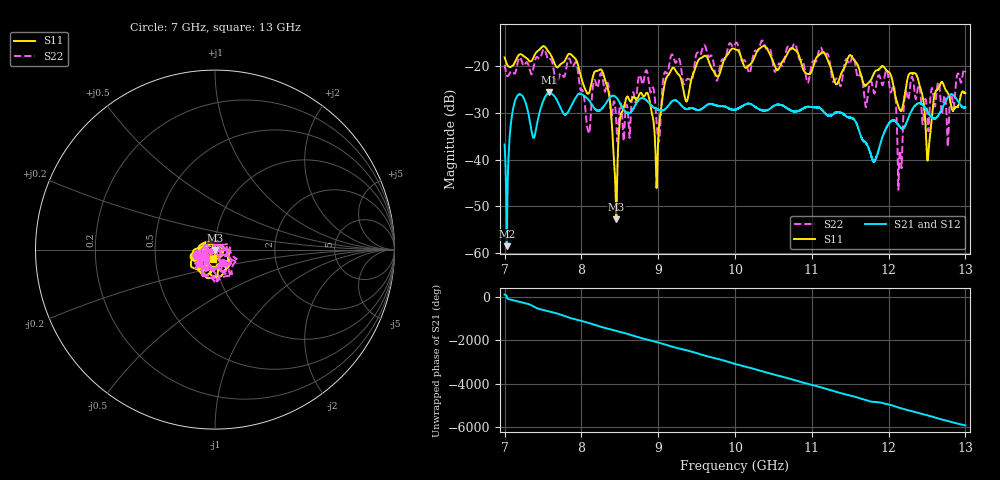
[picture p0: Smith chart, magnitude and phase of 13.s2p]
[Version] 2.0
! Rohde & Schwarz Vector Network Analyzer
! Rohde-Schwarz,ZNL20-2Port,1323001220200009,1.71.1.10-23.02.1.238
! Port Assignments:
! Nominal Port -> Actual Test Port
!  1 -> 1
!  2 -> 2
! Created: GMT+3 2024-09-24 15:13:53
# Hz S DB R 50
[Number of Ports] 2
[Two-Port Data Order] 21_12
! freq[Hz]  S11[mag dB]  S11[ang]  S21[mag dB]  S21[ang]  S12[mag dB]  S12[ang]  S22[mag dB]  S22[ang]
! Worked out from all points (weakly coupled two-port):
!   6001 points, 7 GHz to 13 GHz, reference 50 ohm
!   highest |S21| = -25.67 dB at 7.58 GHz (marker M1); lowest = -58.5 dB at 7.028 GHz (marker M2)
!   lowest |S11| = -52.8 dB at 8.455 GHz (marker M3), VSWR 1.00, Z = 50.2 - j0.142 ohm
!   |S11| at or under -10 dB: start of sweep to end of sweep
!   |S22| runs from -46.4 to -14.6 dB; largest |S21 - S12| = 0.00081
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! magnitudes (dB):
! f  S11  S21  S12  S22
! 7 GHz  -18.2  -36.8  -36.8  -19.8
! 7.028 GHz  -19.5  -58.5  -57.8  -22.0
! 7.155 GHz  -18.5  -26.7  -26.7  -20.5
! 7.379 GHz  -18.1  -35.4  -35.4  -20.1
! 7.58 GHz  -17.2  -25.7  -25.7  -18.7
! 8 GHz  -22.7  -26.0  -26.0  -25.2
! 8.091 GHz  -25.9  -27.2  -27.2  -34.0
! 8.291 GHz  -22.0  -28.6  -28.7  -24.4
! 8.455 GHz  -52.8  -26.8  -26.8  -32.3
! 8.595 GHz  -26.5  -30.1  -30.1  -28.5
! 8.846 GHz  -25.8  -27.3  -27.3  -20.9
! 9 GHz  -35.7  -29.3  -29.3  -35.6
! 9.175 GHz  -20.7  -27.6  -27.7  -17.6
! 10 GHz  -16.4  -29.3  -29.3  -15.4
! 11 GHz  -21.1  -28.8  -28.8  -19.6
! 11.81 GHz  -21.6  -40.4  -40.3  -25.6
! 12 GHz  -21.3  -32.4  -32.4  -22.7
! 12.15 GHz  -29.4  -33.0  -33.0  -38.4
! 12.3 GHz  -21.6  -29.5  -29.5  -22.4
! 12.52 GHz  -39.1  -30.0  -30.0  -33.8
! 12.67 GHz  -24.1  -30.0  -30.0  -25.2
! 13 GHz  -25.8  -28.8  -28.8  -21.4
